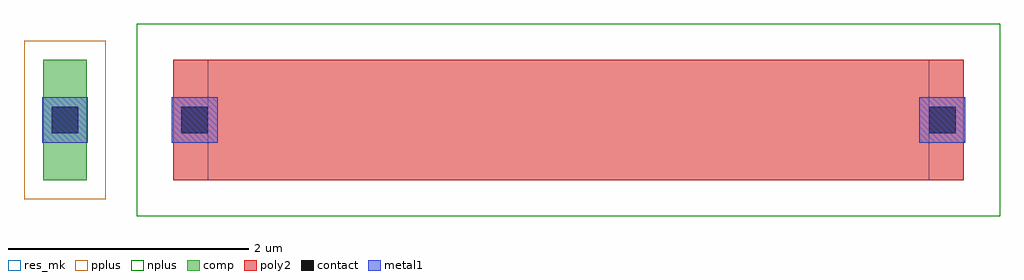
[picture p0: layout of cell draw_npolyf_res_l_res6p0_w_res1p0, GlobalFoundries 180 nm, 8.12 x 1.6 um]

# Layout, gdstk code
import gdstk
lib = gdstk.Library(unit=1e-6, precision=1e-09)
def R(c, l, rs):  # rectangles x0, y0, x1, y1
    for r in rs: c.add(gdstk.rectangle(r[:2], r[2:], *l))
comp = (22, 0)
poly2 = (30, 0)
pplus = (31, 0)
nplus = (32, 0)
contact = (33, 0)
metal1 = (34, 0)
res_mk = (110, 5)

draw_npolyf_res_l_res6p0 = lib.new_cell('draw_npolyf_res_l_res6p0_w_res1p0')
R(draw_npolyf_res_l_res6p0, comp, [(-1.37,0,-1.01,1)])
R(draw_npolyf_res_l_res6p0, poly2, [(-0.29,0,6.29,1)])
R(draw_npolyf_res_l_res6p0, pplus, [(-1.53,-0.16,-0.85,1.16)])
R(draw_npolyf_res_l_res6p0, nplus, [(-0.59,-0.3,6.59,1.3)])
R(draw_npolyf_res_l_res6p0, contact, [(-1.3,0.39,-1.08,0.61), (-0.22,0.39,0,0.61), (6,0.39,6.22,0.61)])
R(draw_npolyf_res_l_res6p0, metal1, [(-1.38,0.31,-1,0.69), (-0.3,0.31,0.08,0.69), (5.92,0.31,6.3,0.69)])
R(draw_npolyf_res_l_res6p0, res_mk, [(0,0,6,1)])

lib.write_gds('draw_npolyf_res_l_res6p0_w_res1p0.gds')
